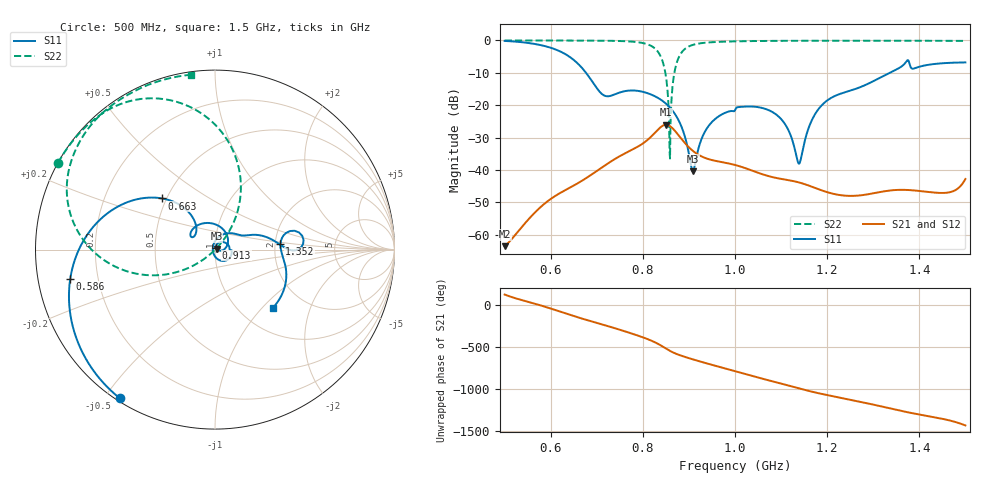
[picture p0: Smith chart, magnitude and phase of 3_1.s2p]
! TOUCHSTONE file generated by CST MICROWAVE STUDIO
! Date and time: Fri Oct  2 17:13:37 2020
! Project name: Scenario_1_Free_Space_out_of_line.cst
! Parameters = {Lambda=346.42; Step_1=17.321; dy1=312.958; dx1=173; L_HA=400; MT=2.54; Rad_Dielectric=30; Rad_Lower=7.3; Rad_Upper=30; a_HA=580; a_WG=246; b_HA=500; b_WG=121; c_HA=0; c_WG=187; d_feed=85; h_feed=15; h_lower=18; h_upper=40}
! Header version: 2018
! Port assignment regex: !\s*Touchstone port\s*([0-9]+)\s*=\s*(CST MWS port|CST DS port)\s*([0-9]+|Zmin|Zmax)\s*\(\"(.*)\"\)(\s*mode\s*([0-9]+))?.*
! Touchstone port assignment:
! Touchstone port 1 = CST MWS port 1 ("")
! Touchstone port 2 = CST MWS port 2 ("")
# GHz S DB R 50
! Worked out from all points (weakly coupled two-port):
!   1003 points, 500 MHz to 1.5 GHz, reference 50 ohm
!   highest |S21| = -26.05 dB at 850 MHz (marker M1); lowest = -63.6 dB at 500 MHz (marker M2)
!   lowest |S11| = -40.5 dB at 908 MHz (marker M3), VSWR 1.02, Z = 50.8 + j0.441 ohm
!   |S11| at or under -10 dB: 676.6 MHz to 1.336 GHz (659.3 MHz wide, 65.5 % of centre)
!   |S22| runs from -36.5 to 0.0 dB; largest |S21 - S12| = 8.1e-05
!   S11 on the Smith chart (normalised r, x): 500 MHz: 0.01, -0.55; 586 MHz: 0.10, -0.10; 663 MHz: 0.47, +0.32; 913 MHz: 1.01, +0.02; 1.352 GHz: 2.12, +0.14; 1.5 GHz: 1.41, -1.15
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0.5  -0.15 -122.7  -63.59 119.4  -63.59 119.4  -0.01 151.1
0.586  -1.70 -168.7  -50.53 -22.7  -50.53 -22.7  -0.02 145.1
0.663  -7.74 136.0  -43.79 -158.6  -43.79 -158.6  -0.04 138.7
0.667  -8.35 133.4  -43.45 -165.1  -43.45 -165.1  -0.04 138.3
0.717  -17.08 139.7  -38.70 115.5  -38.70 115.5  -0.09 132.6
0.787  -15.55 126.9  -33.00 -4.4  -33.00 -4.4  -0.51 117.6
0.834  -17.86 75.0  -27.41 -109.9  -27.41 -109.9  -3.75 86.2
0.85  -19.51 51.8  -26.05 -161.9  -26.05 -161.9  -11.04 61.5
0.859  -20.77 37.7  -26.49 169.3  -26.49 169.3  -36.48 -133.1
0.867  -22.19 24.6  -27.53 147.4  -27.52 147.4  -11.22 -151.2
0.875  -24.00 11.6  -28.86 129.0  -28.86 129.0  -6.28 -164.8
0.908  -40.46 27.2  -34.07 69.6  -34.07 69.6  -1.40 163.5
0.913  -38.39 61.8  -34.62 61.3  -34.62 61.3  -1.20 160.9
0.943  -26.37 58.0  -36.70 14.2  -36.70 14.2  -0.61 150.4
1  -21.58 -0.5  -38.48 -72.6  -38.48 -72.6  -0.29 140.2
1.091  -23.08 -61.8  -42.55 154.4  -42.55 154.4  -0.13 130.5
1.139  -38.11 -178.5  -43.89 83.7  -43.89 83.7  -0.10 126.4
1.167  -24.57 81.8  -45.22 44.3  -45.22 44.3  -0.10 124.1
1.207  -17.89 45.9  -47.18 -3.4  -47.18 -3.4  -0.09 121.1
1.334  -10.14 11.5  -46.42 -151.8  -46.42 -151.8  -0.08 111.4
1.352  -8.85 4.7  -46.20 -174.0  -46.20 -174.0  -0.09 110.0
1.5  -6.80 -45.0  -42.83 3.0  -42.92 3.1  -0.14 97.9
